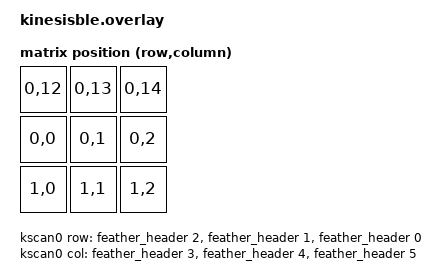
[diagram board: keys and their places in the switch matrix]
/*
 * Copyright (c) 2021 The ZMK Contributors
 *
 * SPDX-License-Identifier: MIT
 */

#include <dt-bindings/zmk/matrix_transform.h>

/ {
    chosen {
        zmk,kscan = &kscan0;
        zmk,matrix_transform = &default_transform;
        zephyr,code-partition = &code_partition;
    };

    leds {
		compatible = "gpio-leds";
        ledu1: led_u1 {
            gpios = <&feather_header 3 GPIO_ACTIVE_HIGH>;
            label = "CAP LED";
            status = "okay";
        };
        ledu2: led_u2 {
            gpios = <&feather_header 4 GPIO_ACTIVE_HIGH>;
            label = "NUM LED";
            status = "okay";
        };
        ledu3: led_u3 {
            gpios = <&feather_header 16 GPIO_ACTIVE_HIGH>;
            label = "SCR LED";
            status = "okay";
        };
        ledu4: led_u4 {
            gpios = <&feather_header 15 GPIO_ACTIVE_HIGH>;
            label = "KEY LED";
            status = "okay";
        };
        led_pow: led_pow {
            gpios = <&feather_header 5 GPIO_ACTIVE_HIGH>;
            label = "BUTTON LED";
            status = "okay";
        };
    };

	pwmleds {
		compatible = "pwm-leds";
		pwm_ledu1: pwm_led_u1 {
			pwms = <&pwm0 28>;
			label = "PWM CAP LED";
		};
		pwm_ledu2: pwm_led_u2 {
			pwms = <&pwm0 2>;
			label = "PWM NUM LED";
		};
		pwm_ledu3: pwm_led_u3 {
			pwms = <&pwm0 26>;
			label = "PWM SCR LED";
		};
        pwm_ledu4: pwm_led_u4 {
			pwms = <&pwm0 7>;
			label = "KEY SCR LED";
		};
        pwm_led_pow: pwm_led_pow {
			pwms = <&pwm0 3>;
			label = "PWM BUTTON LED";
		};
    };

    kscan0: kscan {
        compatible = "zmk,kscan-gpio-matrix";
        label = "KSCAN";
        
        diode-direction = "col2row";
        row-gpios
            = <&feather_header 2  (GPIO_ACTIVE_LOW | GPIO_PULL_UP)>
            , <&feather_header 1  (GPIO_ACTIVE_LOW | GPIO_PULL_UP)>
            , <&feather_header 0  (GPIO_ACTIVE_LOW | GPIO_PULL_UP)>
            ;
        col-gpios
            = <&feather_header 3  (GPIO_ACTIVE_LOW | GPIO_PULL_UP)>
            , <&feather_header 4  (GPIO_ACTIVE_LOW | GPIO_PULL_UP)>
            , <&feather_header 5  (GPIO_ACTIVE_LOW | GPIO_PULL_UP)>
            ;
    };

vbatt {
		compatible = "zmk,battery-voltage-divider";
		label = "BATTERY";
		io-channels = <&adc 5>;
		output-ohms = <100000>;
		full-ohms = <(100000 + 100000)>;
	};

//
// Matrix layout from:
// https://web.archive.org/web/20201101000000*/http://humblehacker.com/blog/20100720/hacking-the-kinesis-contoured-keyboard/
//    	0	1	2	3	4	5	6	7	8	9	10	11	12	13	14
// 0    =	1	2	3	4	5	6	7	8	9	0	-	ESC	F1	F2
// 1	TB	Q	W	E	R	T	Y	U	I	O	P		F3	F4	F5
// 2	CP	A	S	D	F	G	H	J	K	L	;	‘	F6	F7	F8
// 3	LS	Z	X	C	V	B	N	M	,	.	/	RS	F9	F10	F11
// 4	X2	`	IN	LT		RT	UP		DN	[	]	X1	F12	PS	SL
// 5			SL1	SL2		SL5	SR4	SR3	SR6				PB	PG	KY
// 6				SL4	SL3	SL6	SR1		SR2	SR5				
// 
default_transform: keymap_transform_0 {
        compatible = "zmk,matrix-transform";
        columns = <3>;
        rows = <3>;
   map = <
   RC(0,12)  RC(0,13)  RC(0,14)
   RC(0,0)  RC(0,1)  RC(0,2)
   RC(1,0)  RC(1,1)  RC(1,2)
        >;
    };
};

&pwm0 {
	status = "okay";
	ch0-pin = <28>;
	ch0-inverted;
	ch1-pin = <2>;
	ch1-inverted;
	ch2-pin = <26>;
	ch2-inverted;
	ch3-pin = <7>;
	ch3-inverted;
};

&adc {
	status = "okay";
};


&flash0 {
    /delete-node/ partitions;
};

&flash0 {
	partitions {
		compatible = "fixed-partitions";
		#address-cells = <1>;
		#size-cells = <1>;

		sd_partition: partition@0 {
			label = "softdevice";
			reg = <0x00000000 0x00026000>;
		};
		code_partition: partition@26000 {
			label = "code_partition";
			reg = <0x00026000 0x000c6000>;
		};

		/*
		 * The flash starting at 0x000ec000 and ending at
		 * 0x000f3fff is reserved for use by the application.
		 */

		/*
		 * Storage partition will be used by FCB/LittleFS/NVS
		 * if enabled.
		 */
		storage_partition: partition@ec000 {
			label = "storage";
			reg = <0x000ec000 0x00008000>;
		};

		boot_partition: partition@f4000 {
			label = "adafruit_boot";
			reg = <0x000f4000 0x0000c000>;
		};
	};
};
